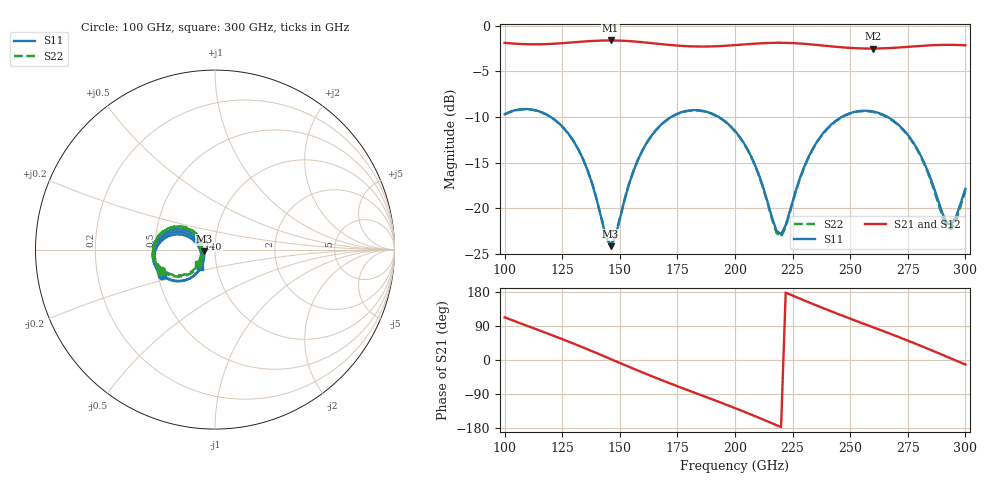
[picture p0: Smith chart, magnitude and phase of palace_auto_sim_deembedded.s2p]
! Created with skrf 1.11.0 (http://scikit-rf.org).
# GHz S DB R 50.0
!freq dBS11 angS11 dBS21 angS21 dBS12 angS12 dBS22 angS22
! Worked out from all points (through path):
!   101 points, 100 GHz to 300 GHz, reference 50 ohm
!   highest |S21| = -1.60 dB at 146 GHz (marker M1); lowest = -2.5 dB at 260 GHz (marker M2)
!   group delay of S21, straight-line fit = 6.74 ps
!   lowest |S11| = -24.2 dB at 146 GHz (marker M3), VSWR 1.13, Z = 44.2 - j0.777 ohm
!   |S11| at or under -10 dB: 120.1 GHz to 172.2 GHz (52.07 GHz wide, 35.6 % of centre); 193 GHz to 246.2 GHz (53.24 GHz wide, 24.2 % of centre); 266.3 GHz to end of sweep
!   |S22| runs from -24.0 to -9.1 dB; largest |S21 - S12| = 1.4e-13
!   S11 on the Smith chart (normalised r, x): 100 GHz: 0.53, -0.17; 140 GHz: 0.82, +0.10; 300 GHz: 0.83, -0.16
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100  -9.69 -154.2  -1.86 112.6  -1.86 112.6  -9.71 -158.1
108  -9.12 -169.6  -1.99 94.2  -1.99 94.2  -9.15 -173.8
118  -9.69 171.5  -1.99 71.4  -1.99 71.4  -9.71 167.0
126  -11.30 157.1  -1.88 52.7  -1.88 52.7  -11.32 152.4
134  -14.58 145.8  -1.72 33.2  -1.72 33.2  -14.59 141.0
140  -19.08 146.5  -1.63 18.1  -1.63 18.1  -19.05 141.7
146  -24.16 -171.9  -1.60 2.6  -1.60 2.6  -24.00 -177.6
158  -14.61 -128.6  -1.75 -28.2  -1.75 -28.2  -14.63 -135.1
168  -10.81 -143.4  -2.00 -52.7  -2.00 -52.7  -10.84 -150.1
184  -9.25 -172.5  -2.26 -89.8  -2.26 -89.8  -9.29 -179.8
200  -11.52 159.7  -2.11 -126.9  -2.11 -126.9  -11.56 151.6
210  -16.08 149.5  -1.93 -151.5  -1.93 -151.5  -16.15 140.8
218  -22.47 176.2  -1.85 -171.9  -1.85 -171.9  -22.70 167.2
220  -22.86 -164.7  -1.85 -177.0  -1.85 -177.0  -23.12 -173.1
234  -13.36 -131.3  -2.05 147.3  -2.05 147.3  -13.42 -139.9
246  -10.03 -149.7  -2.34 118.4  -2.34 118.4  -10.08 -159.1
260  -9.39 -174.3  -2.48 86.2  -2.48 86.2  -9.45 175.6
268  -10.26 172.1  -2.42 67.8  -2.42 67.8  -10.33 161.4
280  -13.91 155.8  -2.21 39.0  -2.21 39.0  -14.01 144.2
292  -21.65 -177.3  -2.08 8.6  -2.08 8.6  -22.11 170.8
296  -20.88 -146.2  -2.09 -1.7  -2.09 -1.7  -21.27 -156.4
300  -17.87 -131.1  -2.13 -11.9  -2.13 -11.9  -18.09 -141.4
